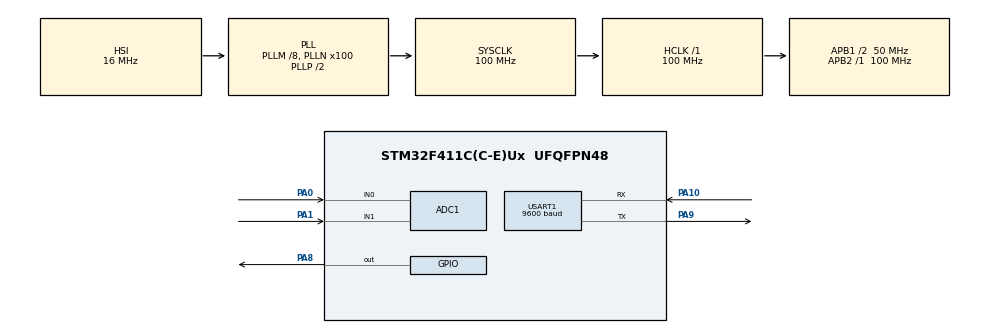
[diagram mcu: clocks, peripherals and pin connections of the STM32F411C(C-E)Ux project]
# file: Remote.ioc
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ADC1.Channel-0\#ChannelRegularConversion=ADC_CHANNEL_0
ADC1.Channel-1\#ChannelRegularConversion=ADC_CHANNEL_1
ADC1.ContinuousConvMode=ENABLE
ADC1.DMAContinuousRequests=ENABLE
ADC1.NbrOfConversion=2
ADC1.NbrOfConversionFlag=1
ADC1.Rank-0\#ChannelRegularConversion=1
ADC1.Rank-1\#ChannelRegularConversion=2
ADC1.SamplingTime-0\#ChannelRegularConversion=ADC_SAMPLETIME_144CYCLES
ADC1.SamplingTime-1\#ChannelRegularConversion=ADC_SAMPLETIME_144CYCLES
ADC1.master=1
Dma.ADC1.0.Direction=DMA_PERIPH_TO_MEMORY
Dma.ADC1.0.FIFOMode=DMA_FIFOMODE_DISABLE
Dma.ADC1.0.Instance=DMA2_Stream0
Dma.ADC1.0.MemDataAlignment=DMA_MDATAALIGN_HALFWORD
Dma.ADC1.0.MemInc=DMA_MINC_ENABLE
Dma.ADC1.0.Mode=DMA_CIRCULAR
Dma.ADC1.0.PeriphDataAlignment=DMA_PDATAALIGN_HALFWORD
Dma.ADC1.0.PeriphInc=DMA_PINC_DISABLE
Dma.ADC1.0.Priority=DMA_PRIORITY_LOW
Dma.Request0=ADC1
Mcu.Family=STM32F4
Mcu.Name=STM32F411C(C-E)Ux
Mcu.Package=UFQFPN48
NVIC.DMA2_Stream0_IRQn=true\:0\:0\:false\:false\:true\:false\:true\:true
NVIC.PriorityGroup=NVIC_PRIORITYGROUP_4
NVIC.USART1_IRQn=true\:0\:0\:false\:false\:true\:true\:true\:true
PA0-WKUP.Signal=ADCx_IN0
PA1.Signal=ADCx_IN1
PA10.Mode=Asynchronous
PA10.Signal=USART1_RX
PA8.Signal=GPIO_Output
PA9.Mode=Asynchronous
PA9.Signal=USART1_TX
PH0\ -\ OSC_IN.Mode=HSE-External-Oscillator
PH0\ -\ OSC_IN.Signal=RCC_OSC_IN
PH1\ -\ OSC_OUT.Mode=HSE-External-Oscillator
PH1\ -\ OSC_OUT.Signal=RCC_OSC_OUT
ProjectManager.HeapSize=0x200
ProjectManager.StackSize=0x400
ProjectManager.TargetToolchain=STM32CubeIDE
RCC.48MHZClocksFreq_Value=50000000
RCC.AHBFreq_Value=100000000
RCC.APB1CLKDivider=RCC_HCLK_DIV2
RCC.APB1Freq_Value=50000000
RCC.APB1TimFreq_Value=100000000
RCC.APB2Freq_Value=100000000
RCC.APB2TimFreq_Value=100000000
RCC.CortexFreq_Value=100000000
RCC.HCLKFreq_Value=100000000
RCC.HSE_VALUE=8000000
RCC.HSI_VALUE=16000000
RCC.LSE_VALUE=32768
RCC.PLLM=8
RCC.PLLN=100
RCC.SYSCLKFreq_VALUE=100000000
RCC.SYSCLKSource=RCC_SYSCLKSOURCE_PLLCLK
RCC.VCOOutputFreq_Value=200000000
SH.ADCx_IN0.0=ADC1_IN0,IN0
SH.ADCx_IN1.0=ADC1_IN1,IN1
USART1.BaudRate=9600
USART1.VirtualMode=VM_ASYNC
board=custom

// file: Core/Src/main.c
/* USER CODE BEGIN Header */
/**
  ******************************************************************************
  * @file           : main.c
  * @brief          : Main program body
  ******************************************************************************
  * @attention
  *
  * Copyright (c) 2026 STMicroelectronics.
  * All rights reserved.
  *
  * This software is licensed under terms that can be found in the LICENSE file
  * in the root directory of this software component.
  * If no LICENSE file comes with this software, it is provided AS-IS.
  *
  ******************************************************************************
  */
/* USER CODE END Header */
#include "main.h"
#include "adc.h"
#include "usart.h"
#include "gpio.h"

/* USER CODE BEGIN Includes */

#include <string.h>
#include "bt_master.h"

/* USER CODE END Includes */

/* USER CODE BEGIN PV */

uint16_t adc_x = 0;  // S-X1
uint16_t adc_y = 0;  // S-Y1
uint8_t  bt_cmd = 'S';
uint8_t  bt_cmd_prev = 'S';

/* USER CODE END PV */

void SystemClock_Config(void);

int main(void)
{

  /* MCU Configuration--------------------------------------------------------*/

  /* Reset of all peripherals, Initializes the Flash interface and the Systick. */
  HAL_Init();

  /* Configure the system clock */
  SystemClock_Config();

  /* Initialize all configured peripherals */
  MX_GPIO_Init();
  MX_USART1_UART_Init();
  MX_ADC1_Init();
  /* USER CODE BEGIN 2 */

//  BT_Connect();

  /* USER CODE END 2 */

  /* Infinite loop */
  /* USER CODE BEGIN WHILE */
  while (1)
  {

	  // 1. ADC 변환 시작 (Rank 1, 2 순차 실행)
	      HAL_ADC_Start(&hadc1);

	      // 2. Rank 1 (PA0 - X축) 변환 완료 대기 및 읽기
	      if (HAL_ADC_PollForConversion(&hadc1, 10) == HAL_OK)
	      {
	          adc_x = HAL_ADC_GetValue(&hadc1);
	      }

	      // 3. Rank 2 (PA1 - Y축) 변환 완료 대기 및 읽기
	      if (HAL_ADC_PollForConversion(&hadc1, 10) == HAL_OK)
	      {
	          adc_y = HAL_ADC_GetValue(&hadc1);
	      }

	      // 4. ADC 변환 중단
	      HAL_ADC_Stop(&hadc1);

	      // --- 조이스틱 방향 판별 및 전송 로직 ---
	      if      (adc_x < 1000) bt_cmd = 'F'; // 전진
	      else if (adc_x > 3000) bt_cmd = 'B'; // 후진
//	      else if (adc_x < 1000) bt_cmd = 'L'; // 좌회전
//	      else if (adc_x > 3000) bt_cmd = 'R'; // 우회전
	      else                   bt_cmd = 'S'; // 정지

	      if (bt_cmd != bt_cmd_prev)
	      {
	          HAL_UART_Transmit(&huart1, &bt_cmd, 1, 10);
	          bt_cmd_prev = bt_cmd;
	      }

	      HAL_Delay(50);

    /* USER CODE END WHILE */

  }
}

void SystemClock_Config(void)
{
  RCC_OscInitTypeDef RCC_OscInitStruct = {0};
  RCC_ClkInitTypeDef RCC_ClkInitStruct = {0};

  /** Configure the main internal regulator output voltage
  */
  __HAL_RCC_PWR_CLK_ENABLE();
  __HAL_PWR_VOLTAGESCALING_CONFIG(PWR_REGULATOR_VOLTAGE_SCALE1);

  /** Initializes the RCC Oscillators according to the specified parameters
  * in the RCC_OscInitTypeDef structure.
  */
  RCC_OscInitStruct.OscillatorType = RCC_OSCILLATORTYPE_HSI;
  RCC_OscInitStruct.HSIState = RCC_HSI_ON;
  RCC_OscInitStruct.HSICalibrationValue = RCC_HSICALIBRATION_DEFAULT;
  RCC_OscInitStruct.PLL.PLLState = RCC_PLL_ON;
  RCC_OscInitStruct.PLL.PLLSource = RCC_PLLSOURCE_HSI;
  RCC_OscInitStruct.PLL.PLLM = 8;
  RCC_OscInitStruct.PLL.PLLN = 100;
  RCC_OscInitStruct.PLL.PLLP = RCC_PLLP_DIV2;
  RCC_OscInitStruct.PLL.PLLQ = 4;
  if (HAL_RCC_OscConfig(&RCC_OscInitStruct) != HAL_OK)
  {
    Error_Handler();
  }

  /** Initializes the CPU, AHB and APB buses clocks
  */
  RCC_ClkInitStruct.ClockType = RCC_CLOCKTYPE_HCLK|RCC_CLOCKTYPE_SYSCLK
                              |RCC_CLOCKTYPE_PCLK1|RCC_CLOCKTYPE_PCLK2;
  RCC_ClkInitStruct.SYSCLKSource = RCC_SYSCLKSOURCE_PLLCLK;
  RCC_ClkInitStruct.AHBCLKDivider = RCC_SYSCLK_DIV1;
  RCC_ClkInitStruct.APB1CLKDivider = RCC_HCLK_DIV2;
  RCC_ClkInitStruct.APB2CLKDivider = RCC_HCLK_DIV1;

  if (HAL_RCC_ClockConfig(&RCC_ClkInitStruct, FLASH_LATENCY_3) != HAL_OK)
  {
    Error_Handler();
  }
}

void Error_Handler(void)
{
  __disable_irq();
  while (1)
  {
  }
}
